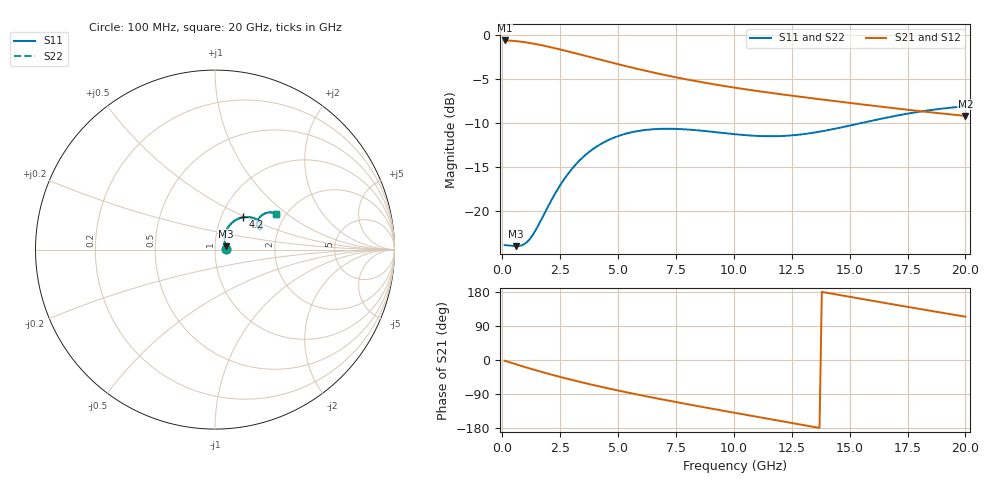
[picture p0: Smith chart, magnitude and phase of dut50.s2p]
! Created with skrf 1.9.0 (http://scikit-rf.org).
# GHz S RI R 50.0
!freq ReS11 ImS11 ReS21 ImS21 ReS12 ImS12 ReS22 ImS22
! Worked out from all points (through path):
!   200 points, 100 MHz to 20 GHz, reference 50 ohm
!   highest |S21| = -0.57 dB at 100 MHz (marker M1); lowest = -9.2 dB at 20 GHz (marker M2)
!   group delay of S21, straight-line fit = 32.6 ps
!   lowest |S11| = -24.0 dB at 600 MHz (marker M3), VSWR 1.13, Z = 56.4 + j2 ohm
!   |S11| at or under -10 dB: start of sweep to 15.49 GHz
!   |S22| runs from -24.0 to -8.1 dB; largest |S21 - S12| = 2.6e-15
!   S11 on the Smith chart (normalised r, x): 100 MHz: 1.14, +0.01; 4.2 GHz: 1.27, +0.48; 20 GHz: 1.77, +0.84
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0.1  0.0636 0.00269  0.9355 -0.0316  0.9355 -0.0316  0.0636 0.00269
0.6  0.0603 0.0177  0.9089 -0.1851  0.9089 -0.1851  0.0603 0.0177
0.9  0.0569 0.0292  0.877 -0.2703  0.877 -0.2703  0.0569 0.0292
1.2  0.0541 0.0434  0.8353 -0.3481  0.8353 -0.3481  0.0541 0.0434
1.5  0.0529 0.06  0.786 -0.4173  0.786 -0.4173  0.0529 0.06
2  0.0573 0.0907  0.6925 -0.513  0.6925 -0.513  0.0573 0.0907
2.7  0.0782 0.132  0.5498 -0.6073  0.5498 -0.6073  0.0782 0.132
3.5  0.1173 0.1658  0.386 -0.6664  0.386 -0.6664  0.1173 0.1658
4.2  0.1559 0.1799  0.2512 -0.6843  0.2512 -0.6843  0.1559 0.1799
4.8  0.1869 0.1817  0.1455 -0.6805  0.1455 -0.6805  0.1869 0.1817
5.5  0.217 0.175  0.0349 -0.6593  0.0349 -0.6593  0.217 0.175
6.8  0.2515 0.1505  -0.1338 -0.588  -0.1338 -0.588  0.2515 0.1505
7.6  0.2599 0.1347  -0.216 -0.5311  -0.216 -0.5311  0.2599 0.1347
8.4  0.2608 0.122  -0.2837 -0.4682  -0.2837 -0.4682  0.2608 0.122
9.2  0.2567 0.114  -0.3382 -0.401  -0.3382 -0.401  0.2567 0.114
10.1  0.249 0.1116  -0.385 -0.3223  -0.385 -0.3223  0.249 0.1116
11.7  0.2359 0.1232  -0.4327 -0.1789  -0.4327 -0.1789  0.2359 0.1232
13.4  0.2339 0.1506  -0.4367 -0.0306  -0.4367 -0.0306  0.2339 0.1506
15  0.2481 0.179  -0.4013 0.0944  -0.4013 0.0944  0.2481 0.179
16.7  0.277 0.2006  -0.331 0.2017  -0.331 0.2017  0.277 0.2006
18.3  0.3091 0.2073  -0.2448 0.2732  -0.2448 0.2732  0.3091 0.2073
20  0.339 0.2004  -0.1431 0.3168  -0.1431 0.3168  0.339 0.2004
